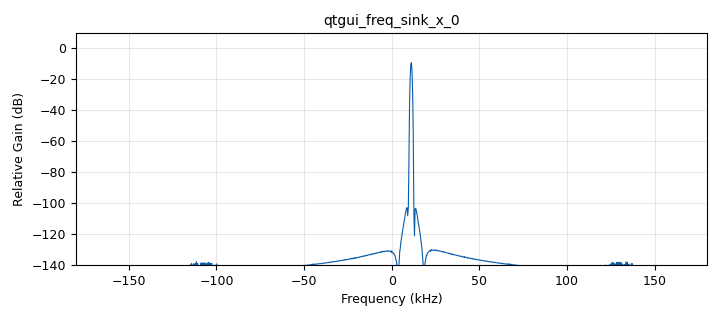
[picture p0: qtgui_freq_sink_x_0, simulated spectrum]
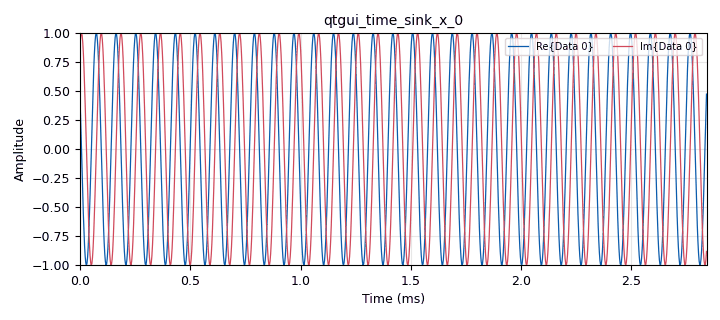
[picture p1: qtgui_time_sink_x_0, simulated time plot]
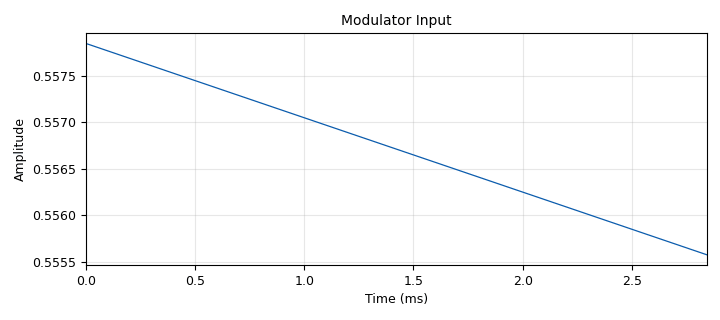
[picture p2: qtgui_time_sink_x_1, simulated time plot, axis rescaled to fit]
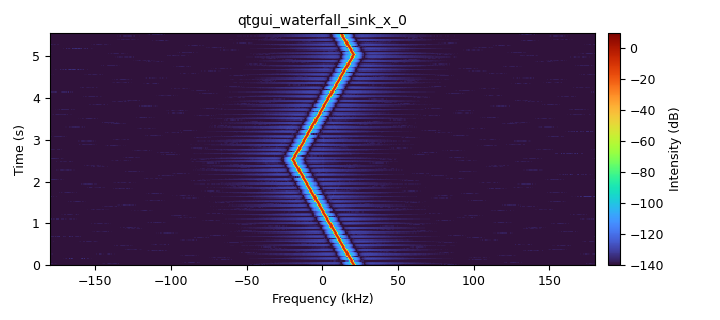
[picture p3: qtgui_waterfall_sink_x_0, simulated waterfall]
options:
  parameters:
    category: Custom
    generate_options: qt_gui
    id: fm_waterfall
    output_language: python
  states: {}

blocks:
- name: deviation
  id: variable_qtgui_entry
  parameters:
    type: real
    value: 20e3
  states: {}
- name: samp_rate
  id: variable
  parameters:
    value: 360e3
  states: {}
- name: analog_frequency_modulator_fc_0
  id: analog_frequency_modulator_fc
  parameters:
    sensitivity: (2 * 3.1415 * deviation) / samp_rate
  states: {}
- name: analog_sig_source_x_0
  id: analog_sig_source_x
  parameters:
    amp: '2'
    freq: '.2'
    offset: '-1'
    phase: '0'
    samp_rate: samp_rate
    type: float
    waveform: analog.GR_TRI_WAVE
  states: {}
- name: blocks_throttle2_0
  id: blocks_throttle2
  parameters:
    samples_per_second: samp_rate
    type: float
  states: {}
- name: qtgui_freq_sink_x_0
  id: qtgui_freq_sink_x
  parameters:
    bw: samp_rate
    fc: '0'
    fftsize: '1024'
    type: complex
  states: {}
- name: qtgui_time_sink_x_0
  id: qtgui_time_sink_x
  parameters:
    size: '1024'
    srate: samp_rate
    type: complex
  states: {}
- name: qtgui_time_sink_x_1
  id: qtgui_time_sink_x
  parameters:
    label1: ''
    name: '"Modulator Input"'
    size: '1024'
    srate: samp_rate
    type: float
  states: {}
- name: qtgui_waterfall_sink_x_0
  id: qtgui_waterfall_sink_x
  parameters:
    bw: samp_rate
    fc: '0'
    fftsize: '1024'
    type: complex
  states: {}

connections:
- [analog_frequency_modulator_fc_0, '0', qtgui_freq_sink_x_0, '0']
- [analog_frequency_modulator_fc_0, '0', qtgui_time_sink_x_0, '0']
- [analog_frequency_modulator_fc_0, '0', qtgui_waterfall_sink_x_0, '0']
- [analog_sig_source_x_0, '0', blocks_throttle2_0, '0']
- [analog_sig_source_x_0, '0', qtgui_time_sink_x_1, '0']
- [blocks_throttle2_0, '0', analog_frequency_modulator_fc_0, '0']

metadata:
  file_format: 1
  grc_version: 3.10.9.2
